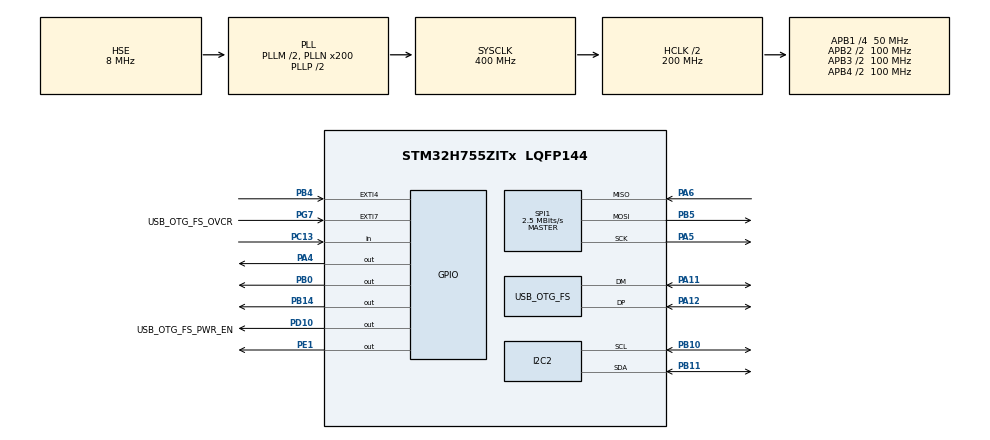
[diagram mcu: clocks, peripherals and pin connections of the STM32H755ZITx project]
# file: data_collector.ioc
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CortexM4.IPs=FATFS_M4\:I,FREERTOS_M4\:I,IWDG2\:I,RCC,WWDG2\:I,DMA,BDMA,MDMA,NVIC2\:I,ETH,USART3,DEBUG,PDM2PCM_M4\:I,PWR,RESMGR_UTILITY,SYS_M4\:I,USB_DEVICE_M4\:I,USB_HOST_M4\:I,CORTEX_M4\:I,GPIO,OPENAMP_M4\:I,VREFBUF,NUCLEO-H755ZI-Q
<<<<<<< HEAD
CortexM7.IPs=FATFS_M7\:I,FREERTOS_M7\:I,IWDG1\:I,RCC\:I,WWDG1\:I,DMA\:I,BDMA\:I,MDMA\:I,NVIC1\:I,ETH\:I,USART3\:I,USB_OTG_FS\:I,SYS\:I,CORTEX_M7\:I,DEBUG\:I,PDM2PCM_M7\:I,PWR\:I,RESMGR_UTILITY\:I,USB_DEVICE_M7\:I,USB_HOST_M7\:I,GPIO\:I,OPENAMP_M7\:I,VREFBUF\:I,NUCLEO-H755ZI-Q\:I,I2C2\:I,SPI1\:I
CortexM7.Pins=PA4
=======
CortexM7.IPs=FATFS_M7\:I,FREERTOS_M7\:I,IWDG1\:I,RCC\:I,WWDG1\:I,DMA\:I,BDMA\:I,MDMA\:I,NVIC1\:I,ETH\:I,USART3\:I,SYS\:I,CORTEX_M7\:I,DEBUG\:I,PDM2PCM_M7\:I,PWR\:I,RESMGR_UTILITY\:I,USB_DEVICE_M7\:I,USB_HOST_M7\:I,GPIO\:I,OPENAMP_M7\:I,VREFBUF\:I,NUCLEO-H755ZI-Q\:I,I2C2\:I,SPI1\:I,USB_OTG_FS\:I,TIM2\:I,TIM5\:I
CortexM7.Pins=PA4,PB4 (NJTRST)
>>>>>>> Uls-devel
I2C2.Timing=0x00C0EAFF
Mcu.Family=STM32H7
Mcu.Name=STM32H755ZITx
Mcu.Package=LQFP144
<<<<<<< HEAD
=======
>>>>>>> Uls-devel
<<<<<<< HEAD
=======
>>>>>>> Uls-devel
NUCLEO-H755ZI-Q.BUTTON=1
NUCLEO-H755ZI-Q.LD1=true
NUCLEO-H755ZI-Q.LD2=true
NUCLEO-H755ZI-Q.LD3=true
NUCLEO-H755ZI-Q.VCP=true
NVIC1.EXTI15_10_IRQn=true\:0\:0\:false\:false\:true\:false\:true\:true
NVIC1.EXTI4_IRQn=true\:0\:0\:false\:false\:true\:true\:true\:true
NVIC1.OTG_FS_IRQn=true\:0\:0\:false\:false\:true\:false\:true\:true
NVIC1.PriorityGroup=NVIC_PRIORITYGROUP_4
NVIC1.TIM5_IRQn=true\:0\:0\:false\:false\:true\:true\:true\:true
NVIC2.PriorityGroup=NVIC_PRIORITYGROUP_4
PA1.PinAttribute=CortexM7
PA1.Signal=ETH_REF_CLK
PA11.Mode=Device_Only
PA11.PinAttribute=CortexM7
PA11.Signal=USB_OTG_FS_DM
PA12.Mode=Device_Only
PA12.PinAttribute=CortexM7
PA12.Signal=USB_OTG_FS_DP
PA2.PinAttribute=CortexM7
PA2.Signal=ETH_MDIO
<<<<<<< HEAD
=======
PA4.GPIO_PuPd=GPIO_PULLUP
>>>>>>> Uls-devel
PA4.GPIO_Speed=GPIO_SPEED_FREQ_HIGH
PA4.PinAttribute=CortexM7
PA4.Signal=GPIO_Output
<<<<<<< HEAD
=======
PA5.GPIO_PuPd=GPIO_NOPULL
>>>>>>> Uls-devel
PA5.Mode=Full_Duplex_Master
PA5.PinAttribute=CortexM7
PA5.Signal=SPI1_SCK
PA6.GPIO_PuPd=GPIO_NOPULL
PA6.Mode=Full_Duplex_Master
PA6.PinAttribute=CortexM7
PA6.Signal=SPI1_MISO
PA7.PinAttribute=CortexM7
PA7.Signal=ETH_CRS_DV
PA8.PinAttribute=CortexM7
PA8.Signal=USB_OTG_FS_SOF
PA9.PinAttribute=CortexM7
PA9.Signal=USB_OTG_FS_VBUS
PB0.Signal=GPIO_Output
PB10.Mode=I2C
PB10.PinAttribute=CortexM7
PB10.Signal=I2C2_SCL
PB11.Mode=I2C
PB11.PinAttribute=CortexM7
PB11.Signal=I2C2_SDA
PB13.PinAttribute=CortexM7
PB13.Signal=ETH_TXD1
PB14.Signal=GPIO_Output
PB4\ (NJTRST).PinAttribute=CortexM7
PB4\ (NJTRST).Signal=GPXTI4
PB5.GPIO_PuPd=GPIO_NOPULL
PB5.Mode=Full_Duplex_Master
PB5.PinAttribute=CortexM7
PB5.Signal=SPI1_MOSI
PC1.PinAttribute=CortexM7
PC1.Signal=ETH_MDC
PC13.Signal=GPIO_Input
PC14-OSC32_IN\ (OSC32_IN).PinAttribute=Free
PC14-OSC32_IN\ (OSC32_IN).Signal=RCC_OSC32_IN
PC15-OSC32_OUT\ (OSC32_OUT).PinAttribute=Free
PC15-OSC32_OUT\ (OSC32_OUT).Signal=RCC_OSC32_OUT
PC4.PinAttribute=CortexM7
PC4.Signal=ETH_RXD0
PC5.PinAttribute=CortexM7
PC5.Signal=ETH_RXD1
PD10.GPIO_Label=USB_OTG_FS_PWR_EN
PD10.PinAttribute=Free
PD10.Signal=GPIO_Output
PD8.Signal=USART3_TX
PD9.Signal=USART3_RX
PE1.Signal=GPIO_Output
PG11.PinAttribute=CortexM7
PG11.Signal=ETH_TX_EN
PG13.PinAttribute=CortexM7
PG13.Signal=ETH_TXD0
PG7.GPIO_Label=USB_OTG_FS_OVCR
PG7.PinAttribute=Free
PG7.Signal=GPXTI7
PH0-OSC_IN\ (PH0).Mode=HSE-External-Oscillator
PH0-OSC_IN\ (PH0).PinAttribute=Free
PH0-OSC_IN\ (PH0).Signal=RCC_OSC_IN
PH1-OSC_OUT\ (PH1).Mode=HSE-External-Oscillator
PH1-OSC_OUT\ (PH1).PinAttribute=Free
PH1-OSC_OUT\ (PH1).Signal=RCC_OSC_OUT
ProjectManager.HeapSize=M4-0x200,M7-0x200
ProjectManager.StackSize=M4-0x400,M7-0x400
ProjectManager.TargetToolchain=STM32CubeIDE
<<<<<<< HEAD
RCC.ADCFreq_Value=129000000
RCC.APB1Freq_Value=40000000
RCC.APB2Freq_Value=80000000
RCC.APB3Freq_Value=80000000
RCC.APB4Freq_Value=80000000
=======
RCC.ADCFreq_Value=160000000
RCC.APB1Freq_Value=50000000
RCC.APB2Freq_Value=100000000
RCC.APB3Freq_Value=100000000
RCC.APB4Freq_Value=100000000
>>>>>>> Uls-devel
RCC.CortexFreq_Value=400000000
RCC.D1PPRE=RCC_APB3_DIV2
RCC.D2PPRE1=RCC_APB1_DIV4
RCC.D2PPRE2=RCC_APB2_DIV2
RCC.D3PPRE=RCC_APB4_DIV2
RCC.DIVM1=2
RCC.DIVM2=2
RCC.DIVM3=1
RCC.DIVN1=200
RCC.DIVN2=160
RCC.DIVN3=96
RCC.DIVP2=4
RCC.DIVP3=8
RCC.DIVQ1=4
RCC.DIVQ3=8
RCC.DIVR3=8
RCC.HCLKFreq_Value=200000000
RCC.HPRE=RCC_HCLK_DIV2
RCC.HSE_VALUE=8000000
RCC.PLL2FRACN=0
RCC.PLL3FRACN=0
RCC.PLLFRACN=0
RCC.PLLSourceVirtual=RCC_PLLSOURCE_HSE
RCC.PWR_Regulator_Voltage_Scale=PWR_REGULATOR_VOLTAGE_SCALE1
RCC.SPI123CLockSelection=RCC_SPI123CLKSOURCE_PLL2
RCC.SYSCLKFreq_VALUE=400000000
RCC.SYSCLKSource=RCC_SYSCLKSOURCE_PLLCLK
RCC.SupplySource=PWR_DIRECT_SMPS_SUPPLY
RCC.USBCLockSelection=RCC_USBCLKSOURCE_HSI48
RCC.USBFreq_Value=48000000
<<<<<<< HEAD
SPI1.BaudRatePrescaler=SPI_BAUDRATEPRESCALER_32
SPI1.CLKPhase=SPI_PHASE_2EDGE
SPI1.CLKPolarity=SPI_POLARITY_HIGH
=======
SPI1.BaudRatePrescaler=SPI_BAUDRATEPRESCALER_64
SPI1.CLKPhase=SPI_PHASE_1EDGE
SPI1.CLKPolarity=SPI_POLARITY_LOW
>>>>>>> Uls-devel
SPI1.CalculateBaudRate=2.5 MBits/s
SPI1.DataSize=SPI_DATASIZE_8BIT
SPI1.Direction=SPI_DIRECTION_2LINES
SPI1.Mode=SPI_MODE_MASTER
SPI1.NSSPMode=SPI_NSS_PULSE_DISABLE
SPI1.VirtualType=VM_MASTER
TIM2.AutoReloadPreload=TIM_AUTORELOAD_PRELOAD_DISABLE
TIM2.Period=0xFFFFFFFF
TIM2.Prescaler=100
TIM5.Period=200000
TIM5.Prescaler=0
USB_DEVICE_M7.CLASS_NAME_FS=CDC
USB_DEVICE_M7.VirtualMode-CDC_FS=Cdc
USB_DEVICE_M7.VirtualModeFS=Cdc_FS
USB_OTG_FS.VirtualMode=Device_Only
VP_NUCLEO-H755ZI-Q_VS_BSP_COMMON.Mode=COMMON
VP_SYS_M4_VS_Systick.Mode=SysTick
VP_TIM2_VS_ClockSourceINT.Mode=Internal
VP_TIM5_VS_ClockSourceINT.Mode=Internal
VP_USB_DEVICE_M7_VS_USB_DEVICE_CDC_FS.Mode=CDC_FS
board=NUCLEO-H755ZI-Q

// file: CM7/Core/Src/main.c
/* USER CODE BEGIN Header */
/**
  ******************************************************************************
  * @file           : main.c
  * @brief          : Main program body
  ******************************************************************************
  * @attention
  *
  * Copyright (c) 2024 STMicroelectronics.
  * All rights reserved.
  *
  * This software is licensed under terms that can be found in the LICENSE file
  * in the root directory of this software component.
  * If no LICENSE file comes with this software, it is provided AS-IS.
  *
  ******************************************************************************
  */
/* USER CODE END Header */
#include "main.h"
#include "usb_device.h"

/* USER CODE BEGIN Includes */
<<<<<<< HEAD
#include "Sensor/temp_collect.h"
#include "Sensor/stts22h_reg.h"
#include "Sensor/iis3dwb_reg.h"
#include "Sensor/iis3dwb_read_data_polling.h"
=======
#include "usbd_cdc_if.h"
#include "Sensor/stts22h_reg.h"
#include "Sensor/iis3dwb_reg.h"
>>>>>>> Uls-devel
/* USER CODE END Includes */

/* USER CODE BEGIN PTD */
<<<<<<< HEAD
typedef struct {
  I2C_HandleTypeDef *i2c_handle;
  uint8_t address;
} STTS22H;
=======
>>>>>>> Uls-devel
/* USER CODE END PTD */

/* USER CODE BEGIN PD */

#ifndef HSEM_ID_0
#define HSEM_ID_0 (0U) /* HW semaphore 0*/
#endif

/* USER CODE END PD */

/* USER CODE BEGIN PM */
#define    BOOT_TIME        10 //ms
/* USER CODE END PM */

COM_InitTypeDef BspCOMInit;

I2C_HandleTypeDef hi2c2;

SPI_HandleTypeDef hspi1;

<<<<<<< HEAD
/* USER CODE BEGIN PV */
STTS22H tempSensor; // Define the temperature sensor variable
=======
TIM_HandleTypeDef htim2;
TIM_HandleTypeDef htim5;

/* USER CODE BEGIN PV */
>>>>>>> Uls-devel
/* USER CODE END PV */

void SystemClock_Config(void);
static void MX_GPIO_Init(void);
static void MX_I2C2_Init(void);
static void MX_SPI1_Init(void);
static void MX_TIM2_Init(void);
static void MX_TIM5_Init(void);
/* USER CODE BEGIN PFP */

//SPI
static int32_t platform_write_SPI(void *handle, uint8_t reg, const uint8_t *bufp,
                              uint16_t len);
static int32_t platform_read_SPI(void *handle, uint8_t reg, uint8_t *bufp,
                             uint16_t len);

int8_t float_to_int8_t(float value);

static uint8_t whoamI_SPI, rst;
static int16_t data_raw_acceleration[3];
static int16_t data_raw_temperature;
static float acceleration_mg[3];
static float temperature_degC;

static uint8_t tx_buffer[64];

static float offset[3];
static int16_t data_raw_offset[3];
static int32_t sum[3];

volatile uint8_t dataFlag = 0;

//I2C
//static uint8_t whoamI_I2C;

//All usages
static void platform_delay(uint32_t ms);
/* USER CODE END PFP */

int main(void)
{

  /* USER CODE BEGIN 1 */
	static uint8_t tx_buffer[1000];
	float temp_data;
	float accel_data;
  /* USER CODE END 1 */
/* USER CODE BEGIN Boot_Mode_Sequence_0 */
<<<<<<< HEAD
	int32_t timeout;
=======
>>>>>>> Uls-devel
/* USER CODE END Boot_Mode_Sequence_0 */

/* USER CODE BEGIN Boot_Mode_Sequence_1 */
    /* Wait until CPU2 boots and enters in stop mode or timeout*/
    int32_t timeout;
    timeout = 0xFFFF;
    while((__HAL_RCC_GET_FLAG(RCC_FLAG_D2CKRDY) != RESET) && (timeout-- > 0));
    if ( timeout < 0 )
    {
    Error_Handler();
    }
/* USER CODE END Boot_Mode_Sequence_1 */
  /* MCU Configuration--------------------------------------------------------*/

  /* Reset of all peripherals, Initializes the Flash interface and the Systick. */
  HAL_Init();

  /* USER CODE BEGIN Init */
<<<<<<< HEAD
  /*
  //STTS22H SENSOR INIT
  HAL_Delay(500);
  BSP_LED_Off(LED_RED);
  BSP_LED_Off(LED_GREEN);
  BSP_LED_Off(LED_YELLOW);
  STTS22H tempSensor;
  tempSensor.i2c_handle = &hi2c2;
  tempSensor.address = STTS22H_ADDRESS; //from STTS22H.h

  if(STTS22H_Initialize(&tempSensor)){
	  //INDICATE TEMP SENSOR IS ONB
	  BSP_LED_On(LED_YELLOW);
	  //printf("[INFO] SSTS22H (TEMP) is initialised\r\n");
  } else {
	  BSP_LED_Off(LED_YELLOW);
	  BSP_LED_On(LED_RED);
	  //printf("[ERROR] SSTS22H (TEMP) an ERROR was when initialising sensor\r\n");
  }

  //VIBRATOR SENSOR INIT   */

=======
>>>>>>> Uls-devel
  /* USER CODE END Init */

  /* Configure the system clock */
  SystemClock_Config();
/* USER CODE BEGIN Boot_Mode_Sequence_2 */
  /* When system initialization is finished, Cortex-M7 will release Cortex-M4 by means of
  HSEM notification */
  /*HW semaphore Clock enable*/
  __HAL_RCC_HSEM_CLK_ENABLE();
  /*Take HSEM */
  HAL_HSEM_FastTake(HSEM_ID_0);
  /*Release HSEM in order to notify the CPU2(CM4)*/
  HAL_HSEM_Release(HSEM_ID_0,0);
  /* wait until CPU2 wakes up from stop mode */
  timeout = 0xFFFF;
  while((__HAL_RCC_GET_FLAG(RCC_FLAG_D2CKRDY) == RESET) && (timeout-- > 0));
  if ( timeout < 0 )
  {
  Error_Handler();
  }
/* USER CODE END Boot_Mode_Sequence_2 */

  /* Initialize all configured peripherals */
  MX_GPIO_Init();
  MX_I2C2_Init();
  MX_SPI1_Init();
  MX_TIM2_Init();
  MX_TIM5_Init();
  MX_USB_DEVICE_Init();
  /* USER CODE BEGIN 2 */
<<<<<<< HEAD
  iis3dwb_init(); // Initialize the IIS3DWB sensor
  // Initialize the STTS22H sensor

=======
  GPIOA->BSRR = (1U << 4); //!!!ENABLE CC PIN FROM START!!!!
  HAL_Delay(100);
>>>>>>> Uls-devel
  /* USER CODE END 2 */

  /* Initialize leds */
  BSP_LED_Init(LED_GREEN);
  BSP_LED_Init(LED_YELLOW);
  BSP_LED_Init(LED_RED);

  /* Initialize USER push-button, will be used to trigger an interrupt each time it's pressed.*/
  BSP_PB_Init(BUTTON_USER, BUTTON_MODE_EXTI);

  /* Initialize COM1 port (115200, 8 bits (7-bit data + 1 stop bit), no parity */
  BspCOMInit.BaudRate   = 115200;
  BspCOMInit.WordLength = COM_WORDLENGTH_8B;
  BspCOMInit.StopBits   = COM_STOPBITS_1;
  BspCOMInit.Parity     = COM_PARITY_NONE;
  BspCOMInit.HwFlowCtl  = COM_HWCONTROL_NONE;
  if (BSP_COM_Init(COM1, &BspCOMInit) != BSP_ERROR_NONE)
  {
    Error_Handler();
  }

  /* Infinite loop */
  /* USER CODE BEGIN WHILE */

  //-----INIT STTS22H------
  //STTS22H VARIBELS
  //stmdev_ctx_t dev_ctx_STTS22H;

  //-----INIT IIS3DWB------p
  //IIS3DWB VARIBELS
  stmdev_ctx_t dev_ctx_IIS3DWB;
  iis3dwb_pin_int1_route_t int1_route;
  dev_ctx_IIS3DWB.write_reg = platform_write_SPI;
  dev_ctx_IIS3DWB.read_reg = platform_read_SPI;
  dev_ctx_IIS3DWB.mdelay = platform_delay;
  dev_ctx_IIS3DWB.handle = &hspi1;

  //delay
  platform_delay(BOOT_TIME);

  //check communcation
  iis3dwb_device_id_get(&dev_ctx_IIS3DWB, &whoamI_SPI);

    if (whoamI_SPI != IIS3DWB_ID)
      while (1);

  /* Restore default configuration */
  iis3dwb_reset_set(&dev_ctx_IIS3DWB, PROPERTY_ENABLE);

  do {
      iis3dwb_reset_get(&dev_ctx_IIS3DWB, &rst);
  } while (rst);

  /* Enable INT1 data ready interrupt */
  /*iis3dwb_pin_int1_route_get(&dev_ctx_IIS3DWB, &int1_route);
  int1_route.drdy_xl = PROPERTY_ENABLE; // enable data ready interrupt on INT1
  iis3dwb_pin_int1_route_set(&dev_ctx_IIS3DWB, &int1_route);
  iis3dwb_rst_batch_counter_set(&dev_ctx_IIS3DWB, 0x80); // enable pulsed (not latched) data ready interrupt*/

  /* Enable Block Data Update */
  iis3dwb_block_data_update_set(&dev_ctx_IIS3DWB, PROPERTY_ENABLE);
  /* Set Output Data Rate */
  iis3dwb_xl_data_rate_set(&dev_ctx_IIS3DWB, IIS3DWB_XL_ODR_26k7Hz);
  /* Set full scale */
  iis3dwb_xl_full_scale_set(&dev_ctx_IIS3DWB, IIS3DWB_4g);
  /* Configure filtering chain(No aux interface)
   * Accelerometer low pass filter path
   */
  iis3dwb_xl_filt_path_on_out_set(&dev_ctx_IIS3DWB, IIS3DWB_LP_ODR_DIV_45); //We are sampling slow so but slowest filter on

  /*mask data ready until filter settle complete
   * (bit 3 == 1), disable I2C (bit 2 == 1)*/
  iis3dwb_all_on_int1_set(&dev_ctx_IIS3DWB, (0x08 | 0x04));

  /*Read dummy data*/
  //iis3dwb_acceleration_raw_get(&dev_ctx_IIS3DWB, data_raw_acceleration);

  //offset enable
  //iis3dwb_usr_offset_block_set(&dev_ctx_IIS3DWB, PROPERTY_ENABLE); //bit 4 enable

  //calculate offset

  for (uint8_t ii = 0; ii < 128; ii++)
  {
<<<<<<< HEAD
	temp_data = stts22h_read_data_polling();
	accel_data = iis3dwb_read_data_polling();
	if(temp_data == 1000)
	{
		printf("Sensor is not connected\r\n");
	}
	else
	{
		sprintf((char *)tx_buffer, "Temperature [degC]:%3.2f, Acceleration [mg]:%3.2f\r\n", temp_data, accel_data);
		printf("%s", tx_buffer);
	}

	//HAL_Delay(1000); // Delay 1 second between readings
=======
      memset(data_raw_offset, 0x00, 3 * sizeof(int16_t));
      iis3dwb_acceleration_raw_get(&dev_ctx_IIS3DWB, data_raw_offset);
      sum[0] += data_raw_offset[0];
      sum[1] += data_raw_offset[1];
      sum[2] += data_raw_offset[2];
      HAL_Delay(10); //make sure sample is ready
  }

  // !!!assuming 4g!!! 0.061 for 2g
  offset[0] = (sum[0] * 0.122f) / 129.0f;
  offset[1] = (sum[1] * 0.122f) / 129.0f;
  offset[2] = (sum[2] * 0.122f) / 129.0f;

  if (offset[0] > 0.85f)  {
    offset[0] -= 1.0f; // Remove gravity from the x-axis accelerometer bias calculation
  }
  if (offset[0] < -0.85f) {
    offset[0] += 1.0f; // Remove gravity from the x-axis accelerometer bias calculation
  }
  if (offset[1] > 0.85f)  {
    offset[1] -= 1.0f; // Remove gravity from the y-axis accelerometer bias calculation
  }
  if (offset[1] < -0.85f) {
    offset[1] += 1.0f; // Remove gravity from the y-axis accelerometer bias calculation
  }
  if (offset[2] > 0.85f)  {
    offset[2] -= 1.0f; // Remove gravity from the z-axis accelerometer bias calculation
  }
  if (offset[2] < -0.85f) {
    offset[2] += 1.0f; // Remove gravity from the z-axis accelerometer bias calculation
  }

  /*// Prepare buffer to store int8_t offsets
  uint8_t offset_buffer[3];
  offset_buffer[0] = (uint8_t)float_to_int8_t(offset[0]);
  offset_buffer[1] = (uint8_t)float_to_int8_t(offset[1]);
  offset_buffer[2] = (uint8_t)float_to_int8_t(offset[2]);

  // Set offsets
  iis3dwb_xl_usr_offset_x_set(&dev_ctx_IIS3DWB, &offset_buffer[0]);
  iis3dwb_xl_usr_offset_y_set(&dev_ctx_IIS3DWB, &offset_buffer[1]);
  iis3dwb_xl_usr_offset_z_set(&dev_ctx_IIS3DWB, &offset_buffer[2]);*/

  //Init ticks and start timer
  uint32_t ticks = 0;

  if (HAL_TIM_Base_Start_IT(&htim5) != HAL_OK)
  {
    /* Starting Error */
    Error_Handler();
  }

  HAL_TIM_Base_Start(&htim2);

  while(1)
  {
      uint8_t reg;

      /* Read output only if new xl value is available */
      //iis3dwb_xl_flag_data_ready_get(&dev_ctx_IIS3DWB, &reg);

      if (dataFlag) {
        GPIOB->BSRR = GPIO_BSRR_BS0; // DEBUG
        dataFlag = 0;
        ticks = __HAL_TIM_GET_COUNTER(&htim2);

        /* Read acceleration field data */
        memset(data_raw_acceleration, 0x00, 3 * sizeof(int16_t));
        iis3dwb_acceleration_raw_get(&dev_ctx_IIS3DWB, data_raw_acceleration);
        acceleration_mg[0] =
          iis3dwb_from_fs4g_to_mg(data_raw_acceleration[0]) - offset[0];
        acceleration_mg[1] =
          iis3dwb_from_fs4g_to_mg(data_raw_acceleration[1]) - offset[1];
        acceleration_mg[2] =
          iis3dwb_from_fs4g_to_mg(data_raw_acceleration[2]) - offset[2];
        sprintf((char *)tx_buffer,
                "%lu\t%4.2f\t%4.2f\t%4.2f\t\r\n",ticks,
                acceleration_mg[0], acceleration_mg[1], acceleration_mg[2]);
        size_t length = strlen((char *)tx_buffer);

        CDC_Transmit_FS(tx_buffer, length);
        GPIOB->BSRR = GPIO_BSRR_BR0; //DEBUG

        /*sprintf((char *)tx_buffer,
                        "%d\t%d\t%d\t\r\n",
                        data_raw_acceleration[0], data_raw_acceleration[1], data_raw_acceleration[2]);*/
      }

      //iis3dwb_temp_flag_data_ready_get(&dev_ctx_IIS3DWB, &reg);

      /*if (reg) {
        // Read temperature data
        memset(&data_raw_temperature, 0x00, sizeof(int16_t));
        iis3dwb_temperature_raw_get(&dev_ctx_IIS3DWB, &data_raw_temperature);
        temperature_degC = iis3dwb_from_lsb_to_celsius(data_raw_temperature);
        //sprintf((char *)tx_buffer,
        //        "T:%6.2f\r\n", temperature_degC);
        //printf("%s", (char *)tx_buffer);

      }*/
>>>>>>> Uls-devel

    /* USER CODE END WHILE */

  }
}

void SystemClock_Config(void)
{
  RCC_OscInitTypeDef RCC_OscInitStruct = {0};
  RCC_ClkInitTypeDef RCC_ClkInitStruct = {0};

  /** Supply configuration update enable
  */
  HAL_PWREx_ConfigSupply(PWR_DIRECT_SMPS_SUPPLY);

  /** Configure the main internal regulator output voltage
  */
  __HAL_PWR_VOLTAGESCALING_CONFIG(PWR_REGULATOR_VOLTAGE_SCALE1);

  while(!__HAL_PWR_GET_FLAG(PWR_FLAG_VOSRDY)) {}

  /** Initializes the RCC Oscillators according to the specified parameters
  * in the RCC_OscInitTypeDef structure.
  */
  RCC_OscInitStruct.OscillatorType = RCC_OSCILLATORTYPE_HSI48|RCC_OSCILLATORTYPE_HSE;
  RCC_OscInitStruct.HSEState = RCC_HSE_ON;
  RCC_OscInitStruct.HSI48State = RCC_HSI48_ON;
  RCC_OscInitStruct.PLL.PLLState = RCC_PLL_ON;
  RCC_OscInitStruct.PLL.PLLSource = RCC_PLLSOURCE_HSE;
  RCC_OscInitStruct.PLL.PLLM = 2;
  RCC_OscInitStruct.PLL.PLLN = 200;
  RCC_OscInitStruct.PLL.PLLP = 2;
  RCC_OscInitStruct.PLL.PLLQ = 4;
  RCC_OscInitStruct.PLL.PLLR = 2;
  RCC_OscInitStruct.PLL.PLLRGE = RCC_PLL1VCIRANGE_2;
  RCC_OscInitStruct.PLL.PLLVCOSEL = RCC_PLL1VCOWIDE;
  RCC_OscInitStruct.PLL.PLLFRACN = 0;
  if (HAL_RCC_OscConfig(&RCC_OscInitStruct) != HAL_OK)
  {
    Error_Handler();
  }

  /** Initializes the CPU, AHB and APB buses clocks
  */
  RCC_ClkInitStruct.ClockType = RCC_CLOCKTYPE_HCLK|RCC_CLOCKTYPE_SYSCLK
                              |RCC_CLOCKTYPE_PCLK1|RCC_CLOCKTYPE_PCLK2
                              |RCC_CLOCKTYPE_D3PCLK1|RCC_CLOCKTYPE_D1PCLK1;
  RCC_ClkInitStruct.SYSCLKSource = RCC_SYSCLKSOURCE_PLLCLK;
  RCC_ClkInitStruct.SYSCLKDivider = RCC_SYSCLK_DIV1;
  RCC_ClkInitStruct.AHBCLKDivider = RCC_HCLK_DIV2;
  RCC_ClkInitStruct.APB3CLKDivider = RCC_APB3_DIV2;
  RCC_ClkInitStruct.APB1CLKDivider = RCC_APB1_DIV4;
  RCC_ClkInitStruct.APB2CLKDivider = RCC_APB2_DIV2;
  RCC_ClkInitStruct.APB4CLKDivider = RCC_APB4_DIV2;

  if (HAL_RCC_ClockConfig(&RCC_ClkInitStruct, FLASH_LATENCY_2) != HAL_OK)
  {
    Error_Handler();
  }
}

static void MX_I2C2_Init(void)
{

  hi2c2.Instance = I2C2;
  hi2c2.Init.Timing = 0x00C0EAFF;
  hi2c2.Init.OwnAddress1 = 0;
  hi2c2.Init.AddressingMode = I2C_ADDRESSINGMODE_7BIT;
  hi2c2.Init.DualAddressMode = I2C_DUALADDRESS_DISABLE;
  hi2c2.Init.OwnAddress2 = 0;
  hi2c2.Init.OwnAddress2Masks = I2C_OA2_NOMASK;
  hi2c2.Init.GeneralCallMode = I2C_GENERALCALL_DISABLE;
  hi2c2.Init.NoStretchMode = I2C_NOSTRETCH_DISABLE;
  if (HAL_I2C_Init(&hi2c2) != HAL_OK)
  {
    Error_Handler();
  }

  /** Configure Analogue filter
  */
  if (HAL_I2CEx_ConfigAnalogFilter(&hi2c2, I2C_ANALOGFILTER_ENABLE) != HAL_OK)
  {
    Error_Handler();
  }

  /** Configure Digital filter
  */
  if (HAL_I2CEx_ConfigDigitalFilter(&hi2c2, 0) != HAL_OK)
  {
    Error_Handler();
  }

}

static void MX_SPI1_Init(void)
{

  /* SPI1 parameter configuration*/
  hspi1.Instance = SPI1;
  hspi1.Init.Mode = SPI_MODE_MASTER;
  hspi1.Init.Direction = SPI_DIRECTION_2LINES;
  hspi1.Init.DataSize = SPI_DATASIZE_8BIT;
  hspi1.Init.CLKPolarity = SPI_POLARITY_HIGH;
  hspi1.Init.CLKPhase = SPI_PHASE_2EDGE;
  hspi1.Init.NSS = SPI_NSS_SOFT;
<<<<<<< HEAD
  hspi1.Init.BaudRatePrescaler = SPI_BAUDRATEPRESCALER_32;
=======
  hspi1.Init.BaudRatePrescaler = SPI_BAUDRATEPRESCALER_64;
>>>>>>> Uls-devel
  hspi1.Init.FirstBit = SPI_FIRSTBIT_MSB;
  hspi1.Init.TIMode = SPI_TIMODE_DISABLE;
  hspi1.Init.CRCCalculation = SPI_CRCCALCULATION_DISABLE;
  hspi1.Init.CRCPolynomial = 0x0;
  hspi1.Init.NSSPMode = SPI_NSS_PULSE_DISABLE;
  hspi1.Init.NSSPolarity = SPI_NSS_POLARITY_LOW;
  hspi1.Init.FifoThreshold = SPI_FIFO_THRESHOLD_01DATA;
  hspi1.Init.TxCRCInitializationPattern = SPI_CRC_INITIALIZATION_ALL_ZERO_PATTERN;
  hspi1.Init.RxCRCInitializationPattern = SPI_CRC_INITIALIZATION_ALL_ZERO_PATTERN;
  hspi1.Init.MasterSSIdleness = SPI_MASTER_SS_IDLENESS_00CYCLE;
  hspi1.Init.MasterInterDataIdleness = SPI_MASTER_INTERDATA_IDLENESS_00CYCLE;
  hspi1.Init.MasterReceiverAutoSusp = SPI_MASTER_RX_AUTOSUSP_DISABLE;
  hspi1.Init.MasterKeepIOState = SPI_MASTER_KEEP_IO_STATE_DISABLE;
  hspi1.Init.IOSwap = SPI_IO_SWAP_DISABLE;
  if (HAL_SPI_Init(&hspi1) != HAL_OK)
  {
    Error_Handler();
  }

}

static void MX_TIM2_Init(void)
{

  TIM_ClockConfigTypeDef sClockSourceConfig = {0};
  TIM_MasterConfigTypeDef sMasterConfig = {0};

  htim2.Instance = TIM2;
  htim2.Init.Prescaler = 100;
  htim2.Init.CounterMode = TIM_COUNTERMODE_UP;
  htim2.Init.Period = 0xFFFFFFFF;
  htim2.Init.ClockDivision = TIM_CLOCKDIVISION_DIV1;
  htim2.Init.AutoReloadPreload = TIM_AUTORELOAD_PRELOAD_DISABLE;
  if (HAL_TIM_Base_Init(&htim2) != HAL_OK)
  {
    Error_Handler();
  }
  sClockSourceConfig.ClockSource = TIM_CLOCKSOURCE_INTERNAL;
  if (HAL_TIM_ConfigClockSource(&htim2, &sClockSourceConfig) != HAL_OK)
  {
    Error_Handler();
  }
  sMasterConfig.MasterOutputTrigger = TIM_TRGO_RESET;
  sMasterConfig.MasterSlaveMode = TIM_MASTERSLAVEMODE_DISABLE;
  if (HAL_TIMEx_MasterConfigSynchronization(&htim2, &sMasterConfig) != HAL_OK)
  {
    Error_Handler();
  }

}

static void MX_TIM5_Init(void)
{

  TIM_ClockConfigTypeDef sClockSourceConfig = {0};
  TIM_MasterConfigTypeDef sMasterConfig = {0};

  htim5.Instance = TIM5;
  htim5.Init.Prescaler = 0;
  htim5.Init.CounterMode = TIM_COUNTERMODE_UP;
  htim5.Init.Period = 200000;
  htim5.Init.ClockDivision = TIM_CLOCKDIVISION_DIV1;
  htim5.Init.AutoReloadPreload = TIM_AUTORELOAD_PRELOAD_DISABLE;
  if (HAL_TIM_Base_Init(&htim5) != HAL_OK)
  {
    Error_Handler();
  }
  sClockSourceConfig.ClockSource = TIM_CLOCKSOURCE_INTERNAL;
  if (HAL_TIM_ConfigClockSource(&htim5, &sClockSourceConfig) != HAL_OK)
  {
    Error_Handler();
  }
  sMasterConfig.MasterOutputTrigger = TIM_TRGO_RESET;
  sMasterConfig.MasterSlaveMode = TIM_MASTERSLAVEMODE_DISABLE;
  if (HAL_TIMEx_MasterConfigSynchronization(&htim5, &sMasterConfig) != HAL_OK)
  {
    Error_Handler();
  }

}

static void MX_GPIO_Init(void)
{
  GPIO_InitTypeDef GPIO_InitStruct = {0};

  /* GPIO Ports Clock Enable */
  __HAL_RCC_GPIOC_CLK_ENABLE();
  __HAL_RCC_GPIOA_CLK_ENABLE();
  __HAL_RCC_GPIOB_CLK_ENABLE();
  __HAL_RCC_GPIOG_CLK_ENABLE();

  /*Configure GPIO pin Output Level */
  HAL_GPIO_WritePin(GPIOA, GPIO_PIN_4, GPIO_PIN_RESET);

  /*Configure GPIO pins : PC1 PC4 PC5 */
  GPIO_InitStruct.Pin = GPIO_PIN_1|GPIO_PIN_4|GPIO_PIN_5;
  GPIO_InitStruct.Mode = GPIO_MODE_AF_PP;
  GPIO_InitStruct.Pull = GPIO_NOPULL;
  GPIO_InitStruct.Speed = GPIO_SPEED_FREQ_LOW;
  GPIO_InitStruct.Alternate = GPIO_AF11_ETH;
  HAL_GPIO_Init(GPIOC, &GPIO_InitStruct);

  /*Configure GPIO pins : PA1 PA2 PA7 */
  GPIO_InitStruct.Pin = GPIO_PIN_1|GPIO_PIN_2|GPIO_PIN_7;
  GPIO_InitStruct.Mode = GPIO_MODE_AF_PP;
  GPIO_InitStruct.Pull = GPIO_NOPULL;
  GPIO_InitStruct.Speed = GPIO_SPEED_FREQ_LOW;
  GPIO_InitStruct.Alternate = GPIO_AF11_ETH;
  HAL_GPIO_Init(GPIOA, &GPIO_InitStruct);

  /*Configure GPIO pin : PA4 */
  GPIO_InitStruct.Pin = GPIO_PIN_4;
  GPIO_InitStruct.Mode = GPIO_MODE_OUTPUT_PP;
<<<<<<< HEAD
  GPIO_InitStruct.Pull = GPIO_NOPULL;
=======
  GPIO_InitStruct.Pull = GPIO_PULLUP;
>>>>>>> Uls-devel
  GPIO_InitStruct.Speed = GPIO_SPEED_FREQ_HIGH;
  HAL_GPIO_Init(GPIOA, &GPIO_InitStruct);

  /*Configure GPIO pin : PB13 */
  GPIO_InitStruct.Pin = GPIO_PIN_13;
  GPIO_InitStruct.Mode = GPIO_MODE_AF_PP;
  GPIO_InitStruct.Pull = GPIO_NOPULL;
  GPIO_InitStruct.Speed = GPIO_SPEED_FREQ_LOW;
  GPIO_InitStruct.Alternate = GPIO_AF11_ETH;
  HAL_GPIO_Init(GPIOB, &GPIO_InitStruct);

  /*Configure GPIO pins : PG11 PG13 */
  GPIO_InitStruct.Pin = GPIO_PIN_11|GPIO_PIN_13;
  GPIO_InitStruct.Mode = GPIO_MODE_AF_PP;
  GPIO_InitStruct.Pull = GPIO_NOPULL;
  GPIO_InitStruct.Speed = GPIO_SPEED_FREQ_LOW;
  GPIO_InitStruct.Alternate = GPIO_AF11_ETH;
  HAL_GPIO_Init(GPIOG, &GPIO_InitStruct);

  /*Configure GPIO pin : PB4 */
  GPIO_InitStruct.Pin = GPIO_PIN_4;
  GPIO_InitStruct.Mode = GPIO_MODE_IT_RISING;
  GPIO_InitStruct.Pull = GPIO_NOPULL;
  HAL_GPIO_Init(GPIOB, &GPIO_InitStruct);

  /* EXTI interrupt init*/
  HAL_NVIC_SetPriority(EXTI4_IRQn, 0, 0);
  HAL_NVIC_EnableIRQ(EXTI4_IRQn);

}

/* USER CODE BEGIN 4 */

void HAL_GPIO_EXTI_Callback(uint16_t GPIO_Pin)
{
  //dataFlag = 1;
}
void HAL_TIM_PeriodElapsedCallback(TIM_HandleTypeDef* htim)
{
  dataFlag = 1;
}

int8_t float_to_int8_t(float value) {
    // Step 1: Scale down the float by 2^10
    float scaled_value = value / (float)(1 << 10);

    // Step 2: Clamp the value to be within [-128, 128]
    if (scaled_value > 127) {
        scaled_value = 127;
    } else if (scaled_value < -127) {
        scaled_value = -127;
    }

    // Step 3: Round the value to the nearest integer
    int32_t rounded_value = (int32_t)round(scaled_value);

    // Step 4: Cast to int8_t
    int8_t result = (int8_t)rounded_value;

    return result;
}

static int32_t platform_write_SPI(void *handle, uint8_t reg, const uint8_t *bufp, uint16_t len)
{
    uint8_t tx_buf[len + 1];
    uint8_t rx_buf[len + 1];  // Dummy receive buffer

    tx_buf[0] = reg;
    memcpy(&tx_buf[1], bufp, len);

    GPIOA->BSRR = (1U << (4 + 16));  // Reset PA4
    HAL_SPI_TransmitReceive((SPI_HandleTypeDef*)handle, tx_buf, rx_buf, len + 1, HAL_MAX_DELAY);
    GPIOA->BSRR = (1U << 4);  // Set PA4

    return 0;
}

/**
 * @brief  Read generic device register (platform dependent).
 */
static int32_t platform_read_SPI(void *handle, uint8_t reg, uint8_t *bufp, uint16_t len)
{
    reg |= 0x80; // Multi-byte read bit for SPI

    uint8_t tx_buf[len + 1];
    uint8_t rx_buf[len + 1];

    tx_buf[0] = reg;
    memset(&tx_buf[1], 0, len);  // Fill the rest of tx_buf with dummy bytes

    GPIOA->BSRR = (1U << (4 + 16));  // Reset PA4
    HAL_SPI_TransmitReceive((SPI_HandleTypeDef*)handle, tx_buf, rx_buf, len + 1, HAL_MAX_DELAY);
    GPIOA->BSRR = (1U << 4);  // Set PA4

    memcpy(bufp, &rx_buf[1], len);

    return 0;
}
/**
 * @brief  Platform specific delay (platform dependent).
 */
static void platform_delay(uint32_t ms)
{
    HAL_Delay(ms);
}

/* USER CODE END 4 */

void Error_Handler(void)
{
  __disable_irq();
  while (1)
  {
  }
}
